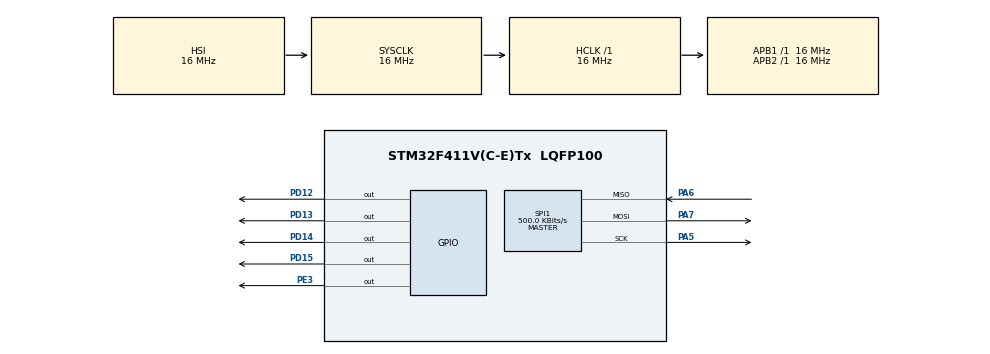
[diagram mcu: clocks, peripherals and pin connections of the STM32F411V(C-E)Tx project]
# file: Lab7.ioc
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Mcu.Family=STM32F4
Mcu.Name=STM32F411V(C-E)Tx
Mcu.Package=LQFP100
NVIC.PriorityGroup=NVIC_PRIORITYGROUP_4
PA5.Mode=Full_Duplex_Master
PA5.Signal=SPI1_SCK
PA6.Mode=Full_Duplex_Master
PA6.Signal=SPI1_MISO
PA7.Mode=Full_Duplex_Master
PA7.Signal=SPI1_MOSI
PD12.Signal=GPIO_Output
PD13.Signal=GPIO_Output
PD14.Signal=GPIO_Output
PD15.Signal=GPIO_Output
PE3.Signal=GPIO_Output
ProjectManager.HeapSize=0x200
ProjectManager.StackSize=0x400
ProjectManager.TargetToolchain=STM32CubeIDE
RCC.AHBFreq_Value=16000000
RCC.APB1Freq_Value=16000000
RCC.APB2Freq_Value=16000000
RCC.CortexFreq_Value=16000000
RCC.HSE_VALUE=25000000
RCC.HSI_VALUE=16000000
RCC.LSE_VALUE=32768
RCC.SYSCLKFreq_VALUE=16000000
RCC.VCOOutputFreq_Value=192000000
SPI1.BaudRatePrescaler=SPI_BAUDRATEPRESCALER_32
SPI1.CalculateBaudRate=500.0 KBits/s
SPI1.Direction=SPI_DIRECTION_2LINES
SPI1.FirstBit=SPI_FIRSTBIT_MSB
SPI1.Mode=SPI_MODE_MASTER
SPI1.VirtualType=VM_MASTER
board=custom

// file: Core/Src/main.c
/* USER CODE BEGIN Header */
/**
  ******************************************************************************
  * @file           : main.c
  * @brief          : Main program body
  ******************************************************************************
  * @attention
  *
  * Copyright (c) 2023 STMicroelectronics.
  * All rights reserved.
  *
  * This software is licensed under terms that can be found in the LICENSE file
  * in the root directory of this software component.
  * If no LICENSE file comes with this software, it is provided AS-IS.
  *
  ******************************************************************************
  */
/* USER CODE END Header */
#include "main.h"

/* USER CODE BEGIN Includes */
#include "stm32f411e_discovery_gyroscope.h"
#include "stm32f411e_discovery.h"
/* USER CODE END Includes */

SPI_HandleTypeDef hspi1;

void SystemClock_Config(void);
static void MX_GPIO_Init(void);
static void MX_SPI1_Init(void);

int main(void)
{

  /* MCU Configuration--------------------------------------------------------*/

  /* Reset of all peripherals, Initializes the Flash interface and the Systick. */
  HAL_Init();

  /* Configure the system clock */
  SystemClock_Config();

  /* Initialize all configured peripherals */
  MX_GPIO_Init();
  MX_SPI1_Init();
  /* USER CODE BEGIN 2 */
  BSP_GYRO_Init();
  /* USER CODE END 2 */

  /* Infinite loop */
  /* USER CODE BEGIN WHILE */
  while (1)
  {
	float pfData[3];
	BSP_GYRO_GetXYZ(&pfData);

	HAL_GPIO_WritePin(GPIOD, GPIO_PIN_12 | GPIO_PIN_13 | GPIO_PIN_14 | GPIO_PIN_15, GPIO_PIN_RESET);

	int sensivity = 10000;
	float data0 = pfData[0];
	switch ((data0 >= sensivity) << 1 | (data0 <= -sensivity)) {
		case 1:
			HAL_GPIO_WritePin(GPIOD, GPIO_PIN_12, GPIO_PIN_SET);
			break;
		case 2:
			HAL_GPIO_WritePin(GPIOD, GPIO_PIN_14, GPIO_PIN_SET);
			break;
	}

	float data1 = pfData[1];
	switch ((data1 >= sensivity) << 1 | (data1 <= -sensivity)) {
		case 1:
			HAL_GPIO_WritePin(GPIOD, GPIO_PIN_15, GPIO_PIN_SET);
			break;
		case 2:
			HAL_GPIO_WritePin(GPIOD, GPIO_PIN_13, GPIO_PIN_SET);
			break;
	}

	HAL_Delay(100);
    /* USER CODE END WHILE */

  }
}

void SystemClock_Config(void)
{
  RCC_OscInitTypeDef RCC_OscInitStruct = {0};
  RCC_ClkInitTypeDef RCC_ClkInitStruct = {0};

  /** Configure the main internal regulator output voltage
  */
  __HAL_RCC_PWR_CLK_ENABLE();
  __HAL_PWR_VOLTAGESCALING_CONFIG(PWR_REGULATOR_VOLTAGE_SCALE1);

  /** Initializes the RCC Oscillators according to the specified parameters
  * in the RCC_OscInitTypeDef structure.
  */
  RCC_OscInitStruct.OscillatorType = RCC_OSCILLATORTYPE_HSI;
  RCC_OscInitStruct.HSIState = RCC_HSI_ON;
  RCC_OscInitStruct.HSICalibrationValue = RCC_HSICALIBRATION_DEFAULT;
  RCC_OscInitStruct.PLL.PLLState = RCC_PLL_NONE;
  if (HAL_RCC_OscConfig(&RCC_OscInitStruct) != HAL_OK)
  {
    Error_Handler();
  }

  /** Initializes the CPU, AHB and APB buses clocks
  */
  RCC_ClkInitStruct.ClockType = RCC_CLOCKTYPE_HCLK|RCC_CLOCKTYPE_SYSCLK
                              |RCC_CLOCKTYPE_PCLK1|RCC_CLOCKTYPE_PCLK2;
  RCC_ClkInitStruct.SYSCLKSource = RCC_SYSCLKSOURCE_HSI;
  RCC_ClkInitStruct.AHBCLKDivider = RCC_SYSCLK_DIV1;
  RCC_ClkInitStruct.APB1CLKDivider = RCC_HCLK_DIV1;
  RCC_ClkInitStruct.APB2CLKDivider = RCC_HCLK_DIV1;

  if (HAL_RCC_ClockConfig(&RCC_ClkInitStruct, FLASH_LATENCY_0) != HAL_OK)
  {
    Error_Handler();
  }
}

static void MX_SPI1_Init(void)
{

  /* SPI1 parameter configuration*/
  hspi1.Instance = SPI1;
  hspi1.Init.Mode = SPI_MODE_MASTER;
  hspi1.Init.Direction = SPI_DIRECTION_2LINES;
  hspi1.Init.DataSize = SPI_DATASIZE_8BIT;
  hspi1.Init.CLKPolarity = SPI_POLARITY_LOW;
  hspi1.Init.CLKPhase = SPI_PHASE_1EDGE;
  hspi1.Init.NSS = SPI_NSS_SOFT;
  hspi1.Init.BaudRatePrescaler = SPI_BAUDRATEPRESCALER_32;
  hspi1.Init.FirstBit = SPI_FIRSTBIT_MSB;
  hspi1.Init.TIMode = SPI_TIMODE_DISABLE;
  hspi1.Init.CRCCalculation = SPI_CRCCALCULATION_DISABLE;
  hspi1.Init.CRCPolynomial = 10;
  if (HAL_SPI_Init(&hspi1) != HAL_OK)
  {
    Error_Handler();
  }

}

static void MX_GPIO_Init(void)
{
  GPIO_InitTypeDef GPIO_InitStruct = {0};

  /* GPIO Ports Clock Enable */
  __HAL_RCC_GPIOE_CLK_ENABLE();
  __HAL_RCC_GPIOA_CLK_ENABLE();
  __HAL_RCC_GPIOD_CLK_ENABLE();

  /*Configure GPIO pin Output Level */
  HAL_GPIO_WritePin(GPIOE, GPIO_PIN_3, GPIO_PIN_RESET);

  /*Configure GPIO pin Output Level */
  HAL_GPIO_WritePin(GPIOD, GPIO_PIN_12|GPIO_PIN_13|GPIO_PIN_14|GPIO_PIN_15, GPIO_PIN_RESET);

  /*Configure GPIO pin : PE3 */
  GPIO_InitStruct.Pin = GPIO_PIN_3;
  GPIO_InitStruct.Mode = GPIO_MODE_OUTPUT_PP;
  GPIO_InitStruct.Pull = GPIO_NOPULL;
  GPIO_InitStruct.Speed = GPIO_SPEED_FREQ_LOW;
  HAL_GPIO_Init(GPIOE, &GPIO_InitStruct);

  /*Configure GPIO pins : PD12 PD13 PD14 PD15 */
  GPIO_InitStruct.Pin = GPIO_PIN_12|GPIO_PIN_13|GPIO_PIN_14|GPIO_PIN_15;
  GPIO_InitStruct.Mode = GPIO_MODE_OUTPUT_PP;
  GPIO_InitStruct.Pull = GPIO_NOPULL;
  GPIO_InitStruct.Speed = GPIO_SPEED_FREQ_LOW;
  HAL_GPIO_Init(GPIOD, &GPIO_InitStruct);

}

void Error_Handler(void)
{
  __disable_irq();
  while (1)
  {
  }
}
